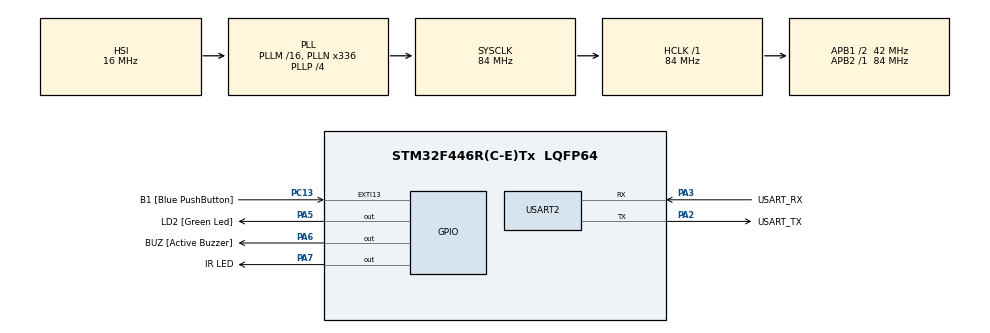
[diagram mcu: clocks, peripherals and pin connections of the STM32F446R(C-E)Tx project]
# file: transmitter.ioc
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Mcu.Family=STM32F4
Mcu.Name=STM32F446R(C-E)Tx
Mcu.Package=LQFP64
NVIC.EXTI15_10_IRQn=true\:0\:0\:false\:false\:true\:true\:true\:true
NVIC.PriorityGroup=NVIC_PRIORITYGROUP_0
PA13.GPIO_Label=TMS
PA13.Signal=SYS_JTMS-SWDIO
PA14.GPIO_Label=TCK
PA14.Signal=SYS_JTCK-SWCLK
PA2.GPIO_Label=USART_TX
PA2.Mode=Asynchronous
PA2.Signal=USART2_TX
PA3.GPIO_Label=USART_RX
PA3.Mode=Asynchronous
PA3.Signal=USART2_RX
PA5.GPIO_Label=LD2 [Green Led]
PA5.Signal=GPIO_Output
PA6.GPIO_Label=BUZ [Active Buzzer]
PA6.Signal=GPIO_Output
PA7.GPIO_Label=IR LED
PA7.Signal=GPIO_Output
PB3.GPIO_Label=SWO
PB3.Signal=SYS_JTDO-SWO
PC13.GPIO_Label=B1 [Blue PushButton]
PC13.GPIO_ModeDefaultEXTI=GPIO_MODE_IT_FALLING
PC13.Signal=GPXTI13
PC14-OSC32_IN.Signal=RCC_OSC32_IN
PC15-OSC32_OUT.Signal=RCC_OSC32_OUT
PH0-OSC_IN.Signal=RCC_OSC_IN
PH1-OSC_OUT.Signal=RCC_OSC_OUT
ProjectManager.HeapSize=0x200
ProjectManager.StackSize=0x400
ProjectManager.TargetToolchain=STM32CubeIDE
RCC.AHBFreq_Value=84000000
RCC.APB1CLKDivider=RCC_HCLK_DIV2
RCC.APB1Freq_Value=42000000
RCC.APB1TimFreq_Value=84000000
RCC.APB2Freq_Value=84000000
RCC.APB2TimFreq_Value=84000000
RCC.CortexFreq_Value=84000000
RCC.FLatency-AdvancedSettings=FLASH_LATENCY_2
RCC.HCLKFreq_Value=84000000
RCC.HSE_VALUE=8000000
RCC.HSI_VALUE=16000000
RCC.LSE_VALUE=32768
RCC.PLLN=336
RCC.PLLP=RCC_PLLP_DIV4
RCC.SYSCLKFreq_VALUE=84000000
RCC.SYSCLKSource=RCC_SYSCLKSOURCE_PLLCLK
RCC.USBFreq_Value=168000000
RCC.VCOOutputFreq_Value=336000000
USART2.VirtualMode=VM_ASYNC
board=NUCLEO-F446RE

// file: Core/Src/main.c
/* USER CODE BEGIN Header */
/**
  ******************************************************************************
  * @file           : main.c
  * @brief          : Main program body
  ******************************************************************************
  * @attention
  *
  * Copyright (c) 2024 STMicroelectronics.
  * All rights reserved.
  *
  * This software is licensed under terms that can be found in the LICENSE file
  * in the root directory of this software component.
  * If no LICENSE file comes with this software, it is provided AS-IS.
  *
  ******************************************************************************
  */
/* USER CODE END Header */
#include "main.h"

/* USER CODE BEGIN Includes */
#include <stdio.h>
#include <string.h>

#include "morse.h"
/* USER CODE END Includes */

/* USER CODE BEGIN PM */
#define BUFFER_LENGTH 140
/* USER CODE END PM */

UART_HandleTypeDef huart2;
ACT_GPIO_OUT act_out;

void SystemClock_Config(void);
static void MX_GPIO_Init(void);
static void MX_USART2_UART_Init(void);
/* USER CODE BEGIN PFP */
#ifdef __GNUC__
  /* With GCC, small printf (option LD Linker->Libraries->Small printf
     set to 'Yes') calls __io_putchar() */
	#define PUTCHAR_PROTOTYPE int __io_putchar(int ch)
	#define GETCHAR_PROTOTYPE int __io_getchar(void)
#else
	#define PUTCHAR_PROTOTYPE int fputc(int ch, FILE *f)
	#define GETCHAR_PROTOTYPE int fgetc(FILE *f)
#endif /* __GNUC__ */
/* USER CODE END PFP */

int main(void)
{
  /* USER CODE BEGIN 1 */

	act_out.gpio_act = BUZ_GPIO_Port;
	act_out.pin_act = BUZ_Pin;
	act_out.type = 0;
  /* USER CODE END 1 */

  /* MCU Configuration--------------------------------------------------------*/

  /* Reset of all peripherals, Initializes the Flash interface and the Systick. */
  HAL_Init();

  /* USER CODE BEGIN Init */
  setvbuf(stdin, NULL, _IONBF, 0);
  /* USER CODE END Init */

  /* Configure the system clock */
  SystemClock_Config();

  /* Initialize all configured peripherals */
  MX_GPIO_Init();
  MX_USART2_UART_Init();

  /* Infinite loop */
  /* USER CODE BEGIN WHILE */
  char buffer[BUFFER_LENGTH];
  char *morse;
  while (1) {
    /* USER CODE END WHILE */

    /* USER CODE BEGIN 3 */
	scanf(" %[^\r]s", buffer);
	printf("\n");
	morse = atom(buffer);
	morse_to_beep(morse, &act_out);
  }
  /* USER CODE END 3 */
}

void SystemClock_Config(void)
{
  RCC_OscInitTypeDef RCC_OscInitStruct = {0};
  RCC_ClkInitTypeDef RCC_ClkInitStruct = {0};

  /** Configure the main internal regulator output voltage
  */
  __HAL_RCC_PWR_CLK_ENABLE();
  __HAL_PWR_VOLTAGESCALING_CONFIG(PWR_REGULATOR_VOLTAGE_SCALE3);

  /** Initializes the RCC Oscillators according to the specified parameters
  * in the RCC_OscInitTypeDef structure.
  */
  RCC_OscInitStruct.OscillatorType = RCC_OSCILLATORTYPE_HSI;
  RCC_OscInitStruct.HSIState = RCC_HSI_ON;
  RCC_OscInitStruct.HSICalibrationValue = RCC_HSICALIBRATION_DEFAULT;
  RCC_OscInitStruct.PLL.PLLState = RCC_PLL_ON;
  RCC_OscInitStruct.PLL.PLLSource = RCC_PLLSOURCE_HSI;
  RCC_OscInitStruct.PLL.PLLM = 16;
  RCC_OscInitStruct.PLL.PLLN = 336;
  RCC_OscInitStruct.PLL.PLLP = RCC_PLLP_DIV4;
  RCC_OscInitStruct.PLL.PLLQ = 2;
  RCC_OscInitStruct.PLL.PLLR = 2;
  if (HAL_RCC_OscConfig(&RCC_OscInitStruct) != HAL_OK)
  {
    Error_Handler();
  }

  /** Initializes the CPU, AHB and APB buses clocks
  */
  RCC_ClkInitStruct.ClockType = RCC_CLOCKTYPE_HCLK|RCC_CLOCKTYPE_SYSCLK
                              |RCC_CLOCKTYPE_PCLK1|RCC_CLOCKTYPE_PCLK2;
  RCC_ClkInitStruct.SYSCLKSource = RCC_SYSCLKSOURCE_PLLCLK;
  RCC_ClkInitStruct.AHBCLKDivider = RCC_SYSCLK_DIV1;
  RCC_ClkInitStruct.APB1CLKDivider = RCC_HCLK_DIV2;
  RCC_ClkInitStruct.APB2CLKDivider = RCC_HCLK_DIV1;

  if (HAL_RCC_ClockConfig(&RCC_ClkInitStruct, FLASH_LATENCY_2) != HAL_OK)
  {
    Error_Handler();
  }
}

static void MX_USART2_UART_Init(void)
{

  huart2.Instance = USART2;
  huart2.Init.BaudRate = 115200;
  huart2.Init.WordLength = UART_WORDLENGTH_8B;
  huart2.Init.StopBits = UART_STOPBITS_1;
  huart2.Init.Parity = UART_PARITY_NONE;
  huart2.Init.Mode = UART_MODE_TX_RX;
  huart2.Init.HwFlowCtl = UART_HWCONTROL_NONE;
  huart2.Init.OverSampling = UART_OVERSAMPLING_16;
  if (HAL_UART_Init(&huart2) != HAL_OK)
  {
    Error_Handler();
  }

}

static void MX_GPIO_Init(void)
{
  GPIO_InitTypeDef GPIO_InitStruct = {0};

  /* GPIO Ports Clock Enable */
  __HAL_RCC_GPIOC_CLK_ENABLE();
  __HAL_RCC_GPIOH_CLK_ENABLE();
  __HAL_RCC_GPIOA_CLK_ENABLE();
  __HAL_RCC_GPIOB_CLK_ENABLE();

  /*Configure GPIO pin Output Level */
  HAL_GPIO_WritePin(GPIOA, LD2_Pin|BUZ_Pin|IR_LED_Pin, GPIO_PIN_RESET);

  /*Configure GPIO pin : B1_Pin */
  GPIO_InitStruct.Pin = B1_Pin;
  GPIO_InitStruct.Mode = GPIO_MODE_IT_FALLING;
  GPIO_InitStruct.Pull = GPIO_NOPULL;
  HAL_GPIO_Init(B1_GPIO_Port, &GPIO_InitStruct);

  /*Configure GPIO pins : LD2_Pin BUZ_Pin IR_LED_Pin */
  GPIO_InitStruct.Pin = LD2_Pin|BUZ_Pin|IR_LED_Pin;
  GPIO_InitStruct.Mode = GPIO_MODE_OUTPUT_PP;
  GPIO_InitStruct.Pull = GPIO_NOPULL;
  GPIO_InitStruct.Speed = GPIO_SPEED_FREQ_LOW;
  HAL_GPIO_Init(GPIOA, &GPIO_InitStruct);

  /* EXTI interrupt init*/
  HAL_NVIC_SetPriority(EXTI15_10_IRQn, 0, 0);
  HAL_NVIC_EnableIRQ(EXTI15_10_IRQn);

}

/* USER CODE BEGIN 4 */

void changeActOut(void){
	HAL_GPIO_WritePin(act_out.gpio_act, act_out.pin_act, GPIO_PIN_RESET);
	if(act_out.type){
		act_out.type = 0;
		act_out.gpio_act = BUZ_GPIO_Port;
		act_out.pin_act = BUZ_Pin;
	}
	else{
		act_out.type = 1;
		act_out.gpio_act = IR_LED_GPIO_Port;
		act_out.pin_act = IR_LED_Pin;
	}
}

/**
  * @brief  Retargets the C library printf function to the USART.
  * @param  None
  * @retval None
  */
PUTCHAR_PROTOTYPE {
  /* Place your implementation of fputc here */
  /* e.g. write a character to the EVAL_COM1 and Loop until the end of transmission */
  HAL_UART_Transmit(&huart2, (uint8_t *)&ch, 1, HAL_MAX_DELAY);

  return ch;
}

/**
 * @brief Retargets the C library scanf function to the USART.
 * @param None
 * @retval None
 */
GETCHAR_PROTOTYPE {
  uint8_t ch = 0;

  /* Clear the Overrun flag just before receiving the first character */
  __HAL_UART_CLEAR_OREFLAG(&huart2);

  /* Wait for reception of a character on the USART RX line and echo this
   * character on console */
  HAL_UART_Receive(&huart2, (uint8_t *)&ch, 1, HAL_MAX_DELAY);
  HAL_UART_Transmit(&huart2, (uint8_t *)&ch, 1, HAL_MAX_DELAY);
  return ch;
}
/* USER CODE END 4 */

void Error_Handler(void)
{
  __disable_irq();
  while (1)
  {
  }
}
